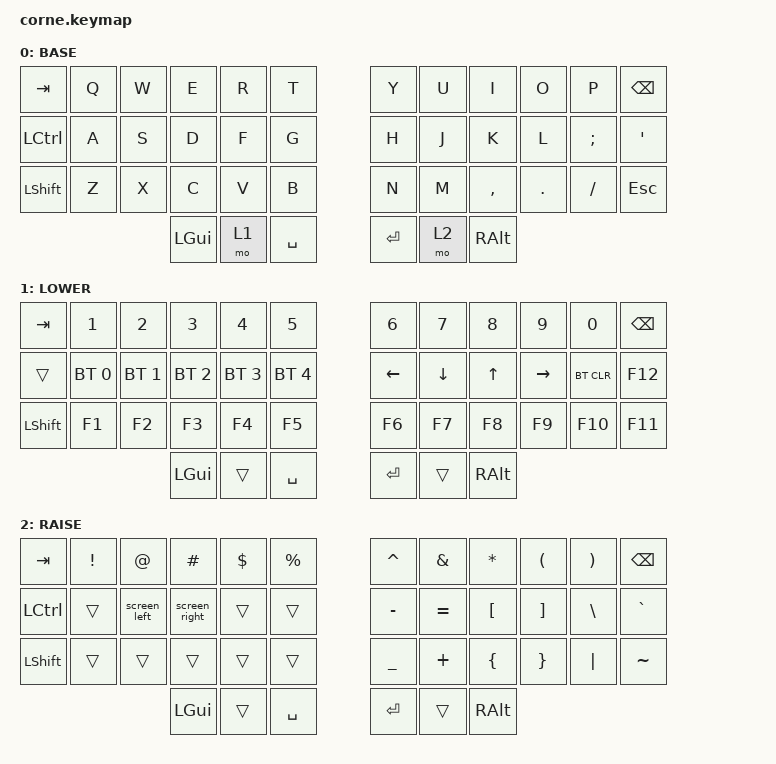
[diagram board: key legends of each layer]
/*
 * Copyright (c) 2020 The ZMK Contributors
 *
 * SPDX-License-Identifier: MIT
 */

#include <behaviors.dtsi>
#include <dt-bindings/zmk/keys.h>
#include <dt-bindings/zmk/bt.h>

/ {
    macros {
        screen_left: screen_left {
            compatible = "zmk,behavior-macro";
            #binding-cells = <0>;
            bindings = <&macro_press &kp LCTRL>, <&macro_tap &kp LEFT>, <&macro_release &kp LCTRL>;
        };
        screen_right: screen_right {
            compatible = "zmk,behavior-macro";
            #binding-cells = <0>;
            bindings = <&macro_press &kp LCTRL>, <&macro_tap &kp RIGHT>, <&macro_release &kp LCTRL>;
        };
    };
};

/ {
        keymap {
                compatible = "zmk,keymap";

                default_layer {
                    display-name = "BASE";
// -----------------------------------------------------------------------------------------
// |  TAB |  Q  |  W  |  E  |  R  |  T  |   |  Y  |  U   |  I  |  O  |  P  | BKSP |
// | CTRL |  A  |  S  |  D  |  F  |  G  |   |  H  |  J   |  K  |  L  |  ;  |  '   |
// | SHFT |  Z  |  X  |  C  |  V  |  B  |   |  N  |  M   |  ,  |  .  |  /  | ESC  |
//                    | GUI | LWR | SPC |   | ENT | RSE  | ALT |
                        bindings = <
   &kp TAB   &kp Q &kp W &kp E &kp R &kp T   &kp Y &kp U  &kp I     &kp O   &kp P    &kp BSPC
   &kp LCTRL &kp A &kp S &kp D &kp F &kp G   &kp H &kp J  &kp K     &kp L   &kp SEMI &kp SQT
   &kp LSHFT &kp Z &kp X &kp C &kp V &kp B   &kp N &kp M  &kp COMMA &kp DOT &kp FSLH &kp ESC
                  &kp LGUI &mo 1 &kp SPACE   &kp RET &mo 2 &kp RALT
                        >;
                };
                lower_layer {
                    display-name = "LOWER";
// -----------------------------------------------------------------------------------------
// |  TAB |  1  |  2  |  3  |  4  |  5  |   |  6  |  7  |  8  |  9  |  0  | BKSP |
// |      | BT1 | BT2 | BT3 | BT4 | BT5 |   | LFT | DWN |  UP | RGT |BTCLR| F12  |
// | SHFT | F1  | F2  | F3  | F4  | F5  |   | F6  | F7  | F8  | F9  | F10 | F11  |
//                    | GUI |     | SPC |   | ENT |     | ALT |
                        bindings = <
   &kp TAB    &kp N1       &kp N2       &kp N3       &kp N4       &kp N5         &kp N6   &kp N7   &kp N8 &kp N9    &kp N0 &kp BSPC
   &trans    &bt BT_SEL 0 &bt BT_SEL 1 &bt BT_SEL 2 &bt BT_SEL 3 &bt BT_SEL 4   &kp LEFT &kp DOWN &kp UP &kp RIGHT &bt BT_CLR &kp F12
   &kp LSHFT  &kp F1       &kp F2       &kp F3       &kp F4       &kp F5         &kp F6   &kp F7   &kp F8 &kp F9    &kp F10 &kp F11
                                    &kp LGUI     &trans       &kp SPACE      &kp RET  &trans   &kp RALT
                        >;
                };

                raise_layer {
                    display-name = "RAISE";
// -----------------------------------------------------------------------------------------
// |  TAB |  !  |  @  |  #  |  $  |  %  |   |  ^  |  &  |  (  |  )  |  =  | BKSP |
// | CTRL |     |     |     |     |     |   |  -  |  =  |  [  |  ]  |  \  |  `   |
// | SHFT |     |     |     |     |     |   |  _  |  +  |  {  |  }  | "|" |  ~   |
//                    | GUI |     | SPC |   | ENT |     | ALT |
                        bindings = <
   &kp  TAB  &kp EXCL &kp AT &kp HASH &kp DLLR &kp PRCNT   &kp CARET &kp AMPS  &kp ASTRK &kp LPAR &kp RPAR  &kp BSPC
   &kp LCTRL &trans   &screen_left &screen_right   &trans   &trans      &kp MINUS &kp EQUAL &kp LBKT  &kp RBKT &kp BSLH  &kp GRAVE
   &kp LSHFT &trans   &trans &trans   &trans   &trans      &kp UNDER &kp PLUS  &kp LBRC  &kp RBRC &kp PIPE  &kp TILDE
                             &kp LGUI &trans   &kp SPACE   &kp RET   &trans    &kp RALT
                        >;
                };
        };
};
